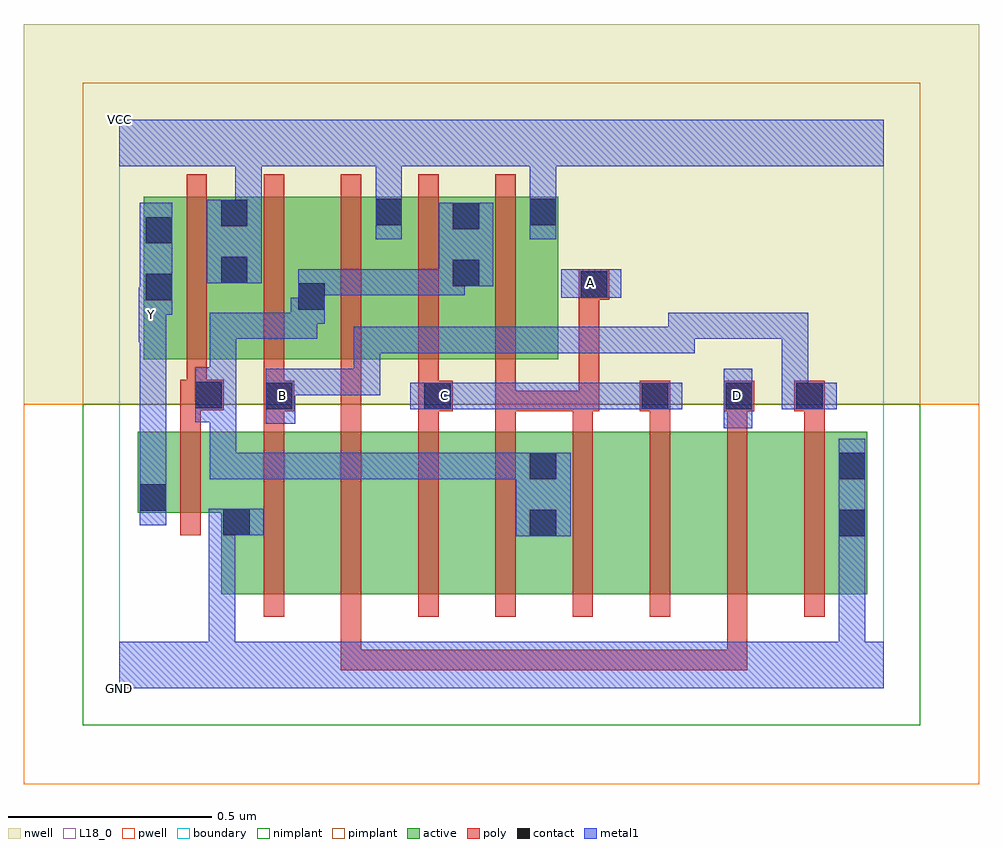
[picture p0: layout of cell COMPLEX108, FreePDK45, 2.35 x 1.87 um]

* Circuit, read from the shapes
.subckt COMPLEX108 A B C D GND VCC Y
M1 GND n1 Y VSUBS nfet w=0.2u l=0.05u
M2 n2 B GND VSUBS nfet w=0.4u l=0.05u
M3 n3 D n2 VSUBS nfet w=0.4u l=0.05u
M4 n4 C n3 VSUBS nfet w=0.4u l=0.05u
M5 n1 A n4 VSUBS nfet w=0.4u l=0.05u
M6 n5 A n1 VSUBS nfet w=0.4u l=0.05u
M7 n6 C n5 VSUBS nfet w=0.4u l=0.05u
M8 n7 D n6 VSUBS nfet w=0.4u l=0.05u
M9 GND B n7 VSUBS nfet w=0.4u l=0.05u
M10 VCC n1 Y n8 pfet w=0.4u l=0.05u
M11 n1 B VCC n8 pfet w=0.4u l=0.05u
M12 VCC D n1 n8 pfet w=0.4u l=0.05u
M13 n1 C VCC n8 pfet w=0.4u l=0.05u
M14 VCC A n1 n8 pfet w=0.4u l=0.05u
.ends

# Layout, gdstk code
import gdstk
lib = gdstk.Library(unit=1e-6, precision=1e-09)
def R(c, l, rs):  # rectangles x0, y0, x1, y1
    for r in rs: c.add(gdstk.rectangle(r[:2], r[2:], *l))
def A(c, l, x, y, w, h, nx, ny, dx, dy):  # array of equal rectangles
    R(c, l, [(x+i*dx, y+j*dy, x+i*dx+w, y+j*dy+h) for i in range(nx) for j in range(ny)])
active = (1, 0)
pwell = (2, 0)
nwell = (3, 0)
nimplant = (4, 0)
pimplant = (5, 0)
poly = (9, 0)
contact = (10, 0)
metal1 = (11, 0)
L18_0 = (18, 0)
boundary = (235, 0)

complex108 = lib.new_cell('COMPLEX108')
A(complex108, active, 0.245, 0.81, 0.265, 0.4, 4, 1, 0.19, 0)
R(complex108, active, [(0.25,0.232,0.475,0.632), (0.25,0.232,0.325,0.597), (0.475,0.232,0.665,0.632), (0.665,0.232,0.855,0.632), (0.855,0.232,1.08,0.632), (1.005,0.232,1.08,0.632), (1.005,0.232,1.235,0.632), (1.235,0.232,1.425,0.632), (1.425,0.232,1.615,0.632), (1.615,0.232,1.84,0.632), (1.765,0.232,1.84,0.632), (0.045,0.432,0.325,0.632), (0.045,0.432,0.12,0.632), (0.06,0.81,0.32,1.21), (0.06,0.81,0.135,1.2), (0.245,0.81,0.32,1.207), (0.435,0.81,0.51,1.155), (1.005,0.81,1.08,1.21), (0.625,0.907,0.7,1.21), (0.815,0.907,0.89,1.2)])
R(complex108, pwell, [(-0.235,-0.235,2.115,0.7)])
R(complex108, nwell, [(-0.235,0.7,2.115,1.635)])
R(complex108, nimplant, [(-0.09,-0.09,1.97,0.7)])
R(complex108, pimplant, [(-0.09,0.7,1.97,1.49)])
A(complex108, poly, 0.355, 0.177, 0.05, 0.51, 8, 1, 0.19, 0)
A(complex108, poly, 0.735, 0.637, 0.05, 0.095, 6, 1, 0.19, 0)
A(complex108, poly, 0.165, 0.755, 0.05, 0.51, 5, 1, 0.19, 0)
R(complex108, poly, [(0.545,0.045,0.595,0.227), (0.545,0.045,0.595,0.095), (0.545,0.045,0.595,0.095), (0.545,0.045,0.595,0.095), (0.545,0.045,0.727,0.095), (0.677,0.045,0.727,0.095), (0.677,0.045,0.727,0.095), (0.677,0.045,0.727,0.095), (0.677,0.045,0.975,0.095), (0.925,0.045,0.975,0.095), (0.925,0.045,0.975,0.095), (0.925,0.045,0.975,0.095), (0.925,0.045,1.107,0.095), (1.057,0.045,1.107,0.095), (1.057,0.045,1.405,0.095), (1.355,0.045,1.405,0.095), (1.355,0.045,1.405,0.095), (1.355,0.045,1.405,0.095), (1.355,0.045,1.545,0.095), (1.495,0.045,1.545,0.227), (1.495,0.045,1.545,0.095), (1.495,0.045,1.545,0.095), (1.495,0.045,1.545,0.095), (0.15,0.377,0.2,0.687), (0.15,0.637,0.2,0.735), (0.355,0.637,0.405,0.732), (0.545,0.637,0.595,0.76), (0.355,0.682,0.43,0.757), (0.735,0.682,0.82,0.757), (0.925,0.682,0.975,0.732), (0.925,0.682,0.975,0.732), (0.925,0.682,0.975,0.732), (0.925,0.682,1.165,0.732), (0.925,0.682,0.975,0.805), (1.115,0.682,1.18,0.732), (1.13,0.682,1.18,0.732), (1.13,0.682,1.18,0.732), (1.13,0.682,1.18,1.007), (1.28,0.682,1.355,0.757), (1.487,0.682,1.562,0.757), (1.66,0.682,1.735,0.757), (0.15,0.685,0.257,0.76), (0.355,0.707,0.405,0.805), (0.735,0.707,0.785,0.805), (0.165,0.71,0.215,0.805), (0.545,0.71,0.595,0.805), (0.545,0.71,0.595,0.76), (1.13,0.957,1.205,1.032)])
R(complex108, contact, [(1.01,0.375,1.075,0.44), (1.77,0.375,1.835,0.44), (0.255,0.377,0.32,0.442), (0.05,0.437,0.115,0.502), (1.01,0.515,1.075,0.58), (1.77,0.515,1.835,0.58), (0.36,0.687,0.425,0.752), (0.75,0.687,0.815,0.752), (1.285,0.687,1.35,0.752), (1.492,0.687,1.557,0.752), (1.665,0.687,1.73,0.752), (0.187,0.69,0.252,0.755), (0.44,0.932,0.505,0.997), (0.065,0.955,0.13,1.02), (1.135,0.962,1.2,1.027), (0.82,0.99,0.885,1.055), (0.25,0.997,0.315,1.062), (0.065,1.095,0.13,1.16), (0.82,1.13,0.885,1.195), (0.25,1.137,0.315,1.202), (0.63,1.14,0.695,1.205), (1.01,1.14,1.075,1.205)])
R(complex108, metal1, [(0,0,1.88,0.115), (0.22,0.05,0.285,0.442), (1.77,0.05,1.835,0.405), (1.77,0.34,1.835,0.405), (1.77,0.34,1.835,0.405), (1.77,0.34,1.835,0.615), (0.975,0.375,1.11,0.58), (0.22,0.377,0.285,0.442), (0.22,0.377,0.285,0.442), (0.22,0.377,0.355,0.442), (0.05,0.402,0.115,0.537), (0.05,0.472,0.115,0.917), (0.222,0.515,0.287,0.58), (0.222,0.515,0.287,0.79), (0.222,0.515,0.39,0.58), (0.325,0.515,0.39,0.58), (0.325,0.515,0.505,0.58), (0.44,0.515,0.505,0.58), (0.44,0.515,0.625,0.58), (0.56,0.515,0.625,0.58), (0.56,0.515,0.712,0.58), (0.647,0.515,0.712,0.58), (0.647,0.515,0.85,0.58), (0.785,0.515,0.85,0.58), (0.785,0.515,0.85,0.58), (0.785,0.515,0.85,0.58), (0.785,0.515,1.005,0.58), (0.94,0.515,1.005,0.58), (0.94,0.515,1.04,0.58), (1.487,0.64,1.557,0.787), (0.36,0.652,0.432,0.787), (0.187,0.655,0.252,0.79), (0.715,0.687,0.867,0.752), (0.802,0.687,0.867,0.752), (0.802,0.687,0.867,0.752), (0.802,0.687,1.005,0.752), (0.94,0.687,1.005,0.752), (0.94,0.687,1.142,0.752), (1.077,0.687,1.142,0.752), (1.077,0.687,1.142,0.752), (1.077,0.687,1.142,0.752), (1.077,0.687,1.315,0.752), (1.25,0.687,1.315,0.752), (1.25,0.687,1.315,0.752), (1.25,0.687,1.385,0.752), (1.63,0.687,1.695,0.752), (1.63,0.687,1.695,0.752), (1.63,0.687,1.765,0.752), (1.63,0.687,1.695,0.925), (0.367,0.722,0.432,0.787), (0.367,0.722,0.432,0.787), (0.367,0.722,0.625,0.787), (0.56,0.722,0.625,0.787), (0.56,0.722,0.642,0.787), (0.577,0.722,0.642,0.787), (0.577,0.722,0.642,0.89), (0.187,0.725,0.287,0.79), (0.222,0.725,0.287,0.79), (0.222,0.725,0.287,0.925), (0.577,0.825,0.642,0.89), (0.577,0.825,0.85,0.89), (0.785,0.825,0.85,0.89), (0.785,0.825,0.85,0.89), (0.785,0.825,0.85,0.89), (0.785,0.825,1.005,0.89), (0.94,0.825,1.005,0.89), (0.94,0.825,1.177,0.89), (1.112,0.825,1.177,0.89), (1.112,0.825,1.177,0.89), (1.112,0.825,1.177,0.89), (1.112,0.825,1.415,0.89), (1.35,0.825,1.415,0.89), (1.35,0.825,1.415,0.89), (1.35,0.825,1.415,0.925), (0.047,0.852,0.115,0.987), (0.222,0.86,0.287,0.925), (0.222,0.86,0.487,0.925), (0.422,0.86,0.487,0.962), (1.35,0.86,1.552,0.925), (1.487,0.86,1.552,0.925), (1.487,0.86,1.552,0.925), (1.487,0.86,1.552,0.925), (1.487,0.86,1.695,0.925), (1.63,0.86,1.695,0.925), (0.422,0.897,0.505,0.962), (0.44,0.897,0.505,1.032), (0.05,0.92,0.115,0.985), (0.05,0.92,0.13,1.195), (1.087,0.962,1.235,1.032), (0.44,0.967,0.505,1.032), (0.44,0.967,0.505,1.032), (0.44,0.967,0.625,1.032), (0.56,0.967,0.625,1.032), (0.56,0.967,0.712,1.032), (0.647,0.967,0.712,1.032), (0.647,0.967,0.85,1.032), (0.785,0.967,0.85,1.055), (0.785,0.99,0.85,1.055), (0.785,0.99,0.92,1.195), (0.215,0.997,0.35,1.202), (0.63,1.105,0.695,1.24), (1.01,1.105,1.075,1.24), (0.285,1.137,0.35,1.35), (0.63,1.175,0.695,1.35), (1.01,1.175,1.075,1.35), (0,1.285,1.88,1.4)])
R(complex108, L18_0, [(0,0,1.88,0.115), (0.22,0.05,0.285,0.442), (1.77,0.05,1.835,0.405), (1.77,0.34,1.835,0.405), (1.77,0.34,1.835,0.405), (1.77,0.34,1.835,0.615), (0.22,0.377,0.285,0.442), (0.22,0.377,0.285,0.442), (0.22,0.377,0.355,0.442), (0.05,0.402,0.115,0.537), (0.05,0.472,0.115,0.917), (1.487,0.64,1.557,0.787), (0.36,0.652,0.432,0.787), (0.367,0.687,0.432,0.752), (0.715,0.687,0.867,0.752), (0.767,0.687,0.832,0.752), (0.802,0.687,0.867,0.752), (0.802,0.687,0.867,0.752), (0.802,0.687,1.005,0.752), (0.94,0.687,1.005,0.752), (0.94,0.687,1.142,0.752), (1.077,0.687,1.142,0.752), (1.077,0.687,1.142,0.752), (1.077,0.687,1.142,0.752), (1.077,0.687,1.315,0.752), (1.25,0.687,1.315,0.752), (1.25,0.687,1.315,0.752), (1.25,0.687,1.385,0.752), (1.487,0.687,1.552,0.752), (1.63,0.687,1.695,0.752), (1.63,0.687,1.695,0.752), (1.63,0.687,1.765,0.752), (1.63,0.687,1.695,0.925), (0.367,0.722,0.432,0.787), (0.367,0.722,0.432,0.787), (0.367,0.722,0.625,0.787), (0.56,0.722,0.625,0.787), (0.56,0.722,0.642,0.787), (0.577,0.722,0.642,0.787), (0.577,0.722,0.642,0.89), (0.577,0.825,0.642,0.89), (0.577,0.825,0.85,0.89), (0.785,0.825,0.85,0.89), (0.785,0.825,0.85,0.89), (0.785,0.825,0.85,0.89), (0.785,0.825,1.005,0.89), (0.94,0.825,1.005,0.89), (0.94,0.825,1.177,0.89), (1.112,0.825,1.177,0.89), (1.112,0.825,1.177,0.89), (1.112,0.825,1.177,0.89), (1.112,0.825,1.415,0.89), (1.35,0.825,1.415,0.89), (1.35,0.825,1.415,0.89), (1.35,0.825,1.415,0.925), (0.047,0.852,0.115,0.987), (1.35,0.86,1.552,0.925), (1.487,0.86,1.552,0.925), (1.487,0.86,1.552,0.925), (1.487,0.86,1.552,0.925), (1.487,0.86,1.695,0.925), (1.63,0.86,1.695,0.925), (0.047,0.887,0.112,0.952), (0.05,0.92,0.13,1.195), (0.05,0.92,0.115,0.985), (1.087,0.962,1.235,1.032), (1.127,0.967,1.192,1.032), (0.215,0.997,0.35,1.202), (0.63,1.105,0.695,1.24), (1.01,1.105,1.075,1.24), (0.285,1.137,0.35,1.35), (0.63,1.175,0.695,1.35), (1.01,1.175,1.075,1.35), (0,1.285,1.88,1.4)])
R(complex108, boundary, [(0,0,1.88,1.4)])
complex108.add(gdstk.Label('A', (1.16,1), layer=11, texttype=0))
complex108.add(gdstk.Label('B', (0.4,0.72), layer=11, texttype=0))
complex108.add(gdstk.Label('C', (0.8,0.72), layer=11, texttype=0))
complex108.add(gdstk.Label('D', (1.52,0.72), layer=11, texttype=0))
complex108.add(gdstk.Label('Y', (0.08,0.92), layer=11, texttype=0))
complex108.add(gdstk.Label('VCC', (0,1.4), layer=11, texttype=0))
complex108.add(gdstk.Label('GND', (0,0), layer=11, texttype=0))

lib.write_gds('COMPLEX108.gds')
